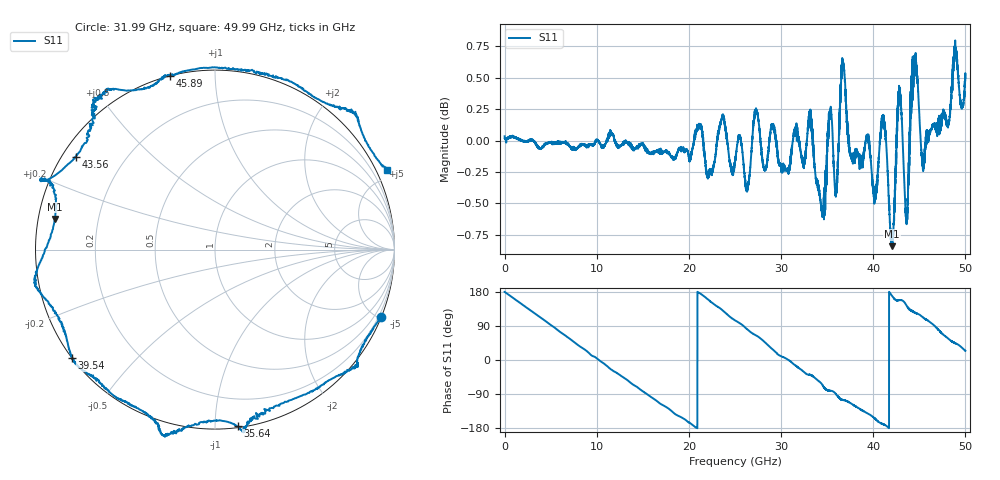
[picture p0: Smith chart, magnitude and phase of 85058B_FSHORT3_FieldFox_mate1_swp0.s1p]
!Created with skrf (http://scikit-rf.org).
# Hz S RI R 50.0
!freq ReS11 ImS11
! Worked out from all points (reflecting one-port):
!   10000 points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, 5.3 MHz to 50 GHz, reference 50 ohm
!   lowest |S11| = -0.8 dB at 42.04 GHz (marker M1), VSWR 20.64, Z = 2.44 + j4.71 ohm
!   phase of S11 starts at 180 deg and turns -876 deg over the sweep
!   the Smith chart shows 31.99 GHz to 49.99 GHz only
!   S11 on the Smith chart (normalised r, x): 31.99 GHz: 0.02, -5.13; 35.64 GHz: 0.01, -1.14; 39.54 GHz: -0.00, -0.33; 43.56 GHz: 0.04, +0.30; 45.89 GHz: -0.00, +0.77; 49.99 GHz: -0.61, +4.47
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5299970  -1.004 0.00174
3.34528e9  -0.5244 0.849
6.255262e9  0.3372 0.9403
9.435243e9  0.9738 0.21
1.250522e10  0.7674 -0.6333
1.546521e10  -0.00487 -0.9893
1.875519e10  -0.8217 -0.5503
2.142017e10  -0.9994 0.1345
2.345016e10  -0.7209 0.7169
2.500515e10  -0.2477 0.949
2.749014e10  0.4805 0.902
2.921012e10  0.9154 0.4336
3.125511e10  0.9874 -0.1502
3.198511e10  0.9258 -0.3749
3.33501e10  0.7557 -0.6654
3.563509e10  0.126 -0.9849
3.750507e10  -0.3934 -0.9061
3.954006e10  -0.7994 -0.6031
4.104005e10  -1.003 -0.1913
4.203505e10  -0.8915 0.1699
4.295504e10  -0.9659 0.3852
4.355504e10  -0.7746 0.5182
4.375504e10  -0.7017 0.6298
4.445003e10  -0.6272 0.8641
4.589002e10  -0.2522 0.968
4.752501e10  0.3714 0.9503
4.9985e10  0.9609 0.4442
5e10  0.965 0.4371
